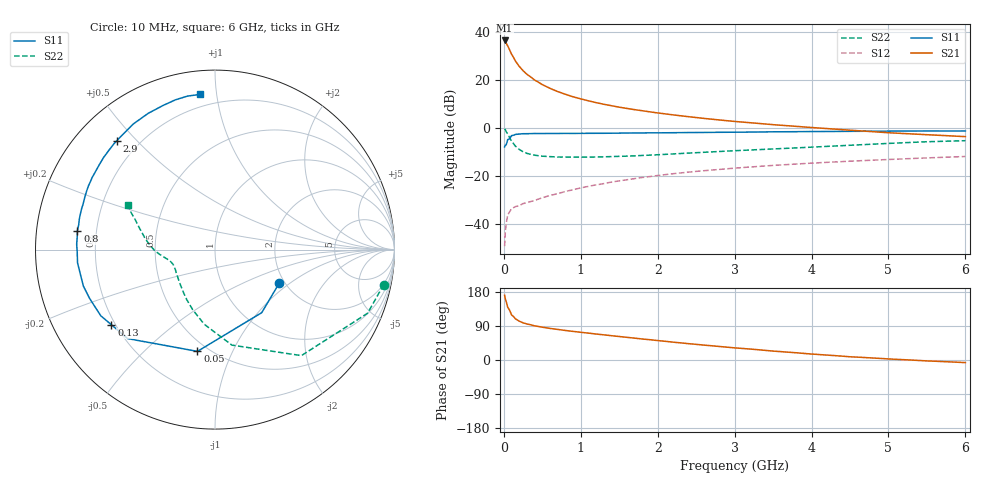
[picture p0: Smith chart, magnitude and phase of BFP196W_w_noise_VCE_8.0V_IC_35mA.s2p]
! Infineon Technologies  Discrete & RF Semiconductors
! BFP196W
! VCE =  8.0 V,  IC =  35 mA
! Common Emitter S-Parameters:  Jan 2017
# GHz  S  MA  R  50
!  f  S11  S21  S12  S22
! GHz  MAG  ANG  MAG  ANG  MAG  ANG  MAG  ANG
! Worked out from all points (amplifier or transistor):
!   77 points, 10 MHz to 6 GHz, reference 50 ohm
!   highest |S21| = 36.6 dB at 10 MHz (marker M1)
!   |S21| within 3 dB of that: start of sweep to 61.53 MHz
!   unconditionally stable (mu >= 1): 834 MHz to 3.214 GHz
!   at 130 MHz: K = 0.33, MSG = 31.2 dB, |S12| = -33.2 dB
!   at 2.2 GHz: K = 1.05, MAG = 11.0 dB, |S12| = -19.1 dB
!   at 6 GHz: K = 0.91, MSG = 4.2 dB, |S12| = -11.9 dB
!   lowest NFmin = 1.19 dB at 450 MHz
!   S11 on the Smith chart (normalised r, x): 10 MHz: 1.88, -0.83; 50 MHz: 0.44, -0.74; 130 MHz: 0.18, -0.31; 800 MHz: 0.13, +0.07; 2.9 GHz: 0.12, +0.44; 6 GHz: 0.13, +0.90
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0.01  0.4039 -27.4  67.69 170.8  0.0034 78.3  0.9601 -11.7
0.02  0.4373 -53.5  64.78 161.1  0.0071 73.3  0.9213 -22.6
0.05  0.5754 -99.8  52.35 139.2  0.0151 56.9  0.7622 -50.8
0.1  0.6948 -134.5  35.02 118.9  0.0207 43.3  0.5403 -80.0
0.13  0.713 -144.0  29.06 113.7  0.0219 40.4  0.462 -89.9
0.15  0.7354 -149.9  25.27 108.8  0.0228 38.6  0.4197 -98.3
0.2  0.7497 -158.7  19.48 102.5  0.0238 38.2  0.3575 -110.3
0.25  0.761 -164.5  15.82 98.1  0.0264 39.6  0.3195 -119.6
0.3  0.7618 -168.6  13.27 95.0  0.0276 42.0  0.2957 -126.6
0.4  0.7695 -174.5  10.08 90.1  0.0307 45.1  0.2709 -136.6
0.5  0.7678 -178.8  8.079 86.5  0.0349 47.8  0.2583 -143.5
0.6  0.7713 177.8  6.759 83.4  0.0391 51.2  0.2528 -148.3
0.7  0.7707 175.0  5.789 80.7  0.0424 53.5  0.2482 -151.8
0.8  0.7739 172.2  5.076 77.9  0.0474 55.6  0.2471 -154.3
1.1  0.7758 165.3  3.706 70.9  0.0605 57.7  0.2472 -159.8
1.5  0.7834 157.2  2.731 62.0  0.0788 58.7  0.2564 -164.9
2.1  0.7965 145.7  1.975 49.3  0.1064 56.2  0.2821 -170.8
2.9  0.8166 132.2  1.425 33.9  0.1409 50.8  0.3297 -178.2
3.1  0.8209 129.1  1.333 30.5  0.1493 49.3  0.3417 179.8
4.1  0.8464 114.8  1.001 14.4  0.1883 41.7  0.406 168.8
5.1  0.8638 103.9  0.783 1.8  0.2237 34.0  0.4852 158.4
6  0.8684 95.4  0.662 -6.9  0.2545 27.0  0.5442 152.7
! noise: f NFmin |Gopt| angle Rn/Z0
0.45  1.19  0.46  180  0.06
0.9  1.33  0.53  -174  0.06
1.9  2.17  0.68  -151  0.13
2.4  2.57  0.73  -145  0.23
